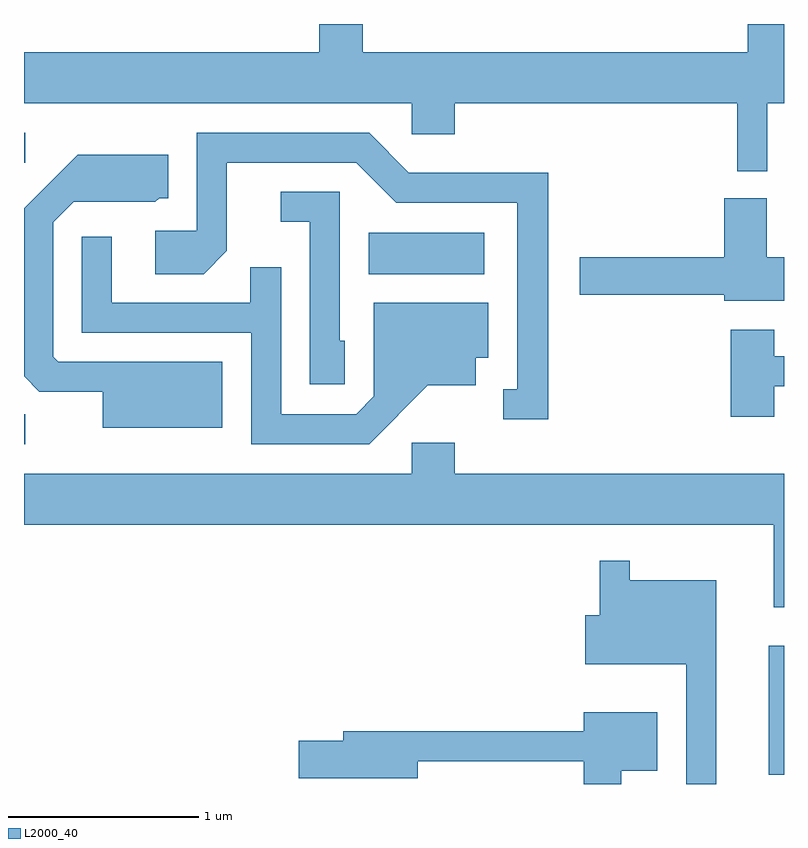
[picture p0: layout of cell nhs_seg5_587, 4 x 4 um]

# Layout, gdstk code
import gdstk
lib = gdstk.Library(unit=1e-6, precision=1e-09)
def R(c, l, rs):  # rectangles x0, y0, x1, y1
    for r in rs: c.add(gdstk.rectangle(r[:2], r[2:], *l))
def P(c, l, *ps):  # polygons
    for p in ps: c.add(gdstk.Polygon(p, *l))
L2000_40 = (2000, 40)

nhs_seg5_587 = lib.new_cell('nhs_seg5_587')
R(nhs_seg5_587, L2000_40, [(205.531,1482.121,205.611,1482.799), (201.611,1483.861,201.618,1484.019), (203.426,1484.756,204.034,1484.974), (201.611,1485.341,201.618,1485.499)])
P(nhs_seg5_587, L2000_40, [(205.524,1485.656),(205.611,1485.656),(205.611,1486.072),(205.421,1486.072),(205.421,1485.924),(203.394,1485.924),(203.394,1486.072),(203.166,1486.072),(203.166,1485.924),(201.611,1485.924),(201.611,1485.656),(203.651,1485.656),(203.651,1485.491),(203.879,1485.491),(203.879,1485.656),(205.366,1485.656),(205.366,1485.298),(205.524,1485.298)],
  [(204.369,1485.289),(203.637,1485.289),(203.427,1485.499),(202.521,1485.499),(202.521,1484.984),(202.301,1484.984),(202.301,1484.756),(202.557,1484.756),(202.679,1484.879),(202.679,1485.341),(203.359,1485.341),(203.569,1485.131),(204.206,1485.131),(204.206,1484.149),(204.133,1484.149),(204.133,1483.991),(204.369,1483.991)],
  [(202.654,1484.294),(201.792,1484.294),(201.764,1484.322),(201.764,1485.029),(201.872,1485.136),(202.302,1485.136),(202.322,1485.156),(202.369,1485.156),(202.369,1485.384),(201.894,1485.384),(201.611,1485.102),(201.611,1484.217),(201.692,1484.136),(202.026,1484.136),(202.026,1483.946),(202.654,1483.946)],
  [(203.299,1484.404),(203.274,1484.404),(203.274,1485.189),(202.963,1485.189),(202.963,1485.031),(203.116,1485.031),(203.116,1484.176),(203.299,1484.176)],
  [(205.611,1484.844),(205.519,1484.844),(205.519,1485.154),(205.296,1485.154),(205.296,1484.844),(204.536,1484.844),(204.536,1484.646),(205.296,1484.646),(205.296,1484.616),(205.611,1484.616)],
  [(203.737,1484.171),(203.989,1484.171),(203.989,1484.316),(204.054,1484.316),(204.054,1484.604),(203.451,1484.604),(203.451,1484.112),(203.359,1484.019),(202.964,1484.019),(202.964,1484.793),(202.801,1484.793),(202.801,1484.604),(202.074,1484.604),(202.074,1484.953),(201.916,1484.953),(201.916,1484.446),(202.806,1484.446),(202.806,1483.861),(203.427,1483.861)],
  [(205.559,1484.166),(205.611,1484.166),(205.611,1484.324),(205.559,1484.324),(205.559,1484.464),(205.331,1484.464),(205.331,1484.006),(205.559,1484.006)],
  [(205.611,1483.704),(203.879,1483.704),(203.879,1483.869),(203.651,1483.869),(203.651,1483.704),(201.611,1483.704),(201.611,1483.436),(205.556,1483.436),(205.556,1483.003),(205.611,1483.003)],
  [(205.254,1483.144),(204.799,1483.144),(204.799,1483.248),(204.641,1483.248),(204.641,1482.959),(204.566,1482.959),(204.566,1482.701),(205.096,1482.701),(205.096,1482.072),(205.254,1482.072)],
  [(204.754,1482.141),(204.944,1482.141),(204.944,1482.449),(204.556,1482.449),(204.556,1482.349),(203.291,1482.349),(203.291,1482.299),(203.056,1482.299),(203.056,1482.101),(203.684,1482.101),(203.684,1482.191),(204.556,1482.191),(204.556,1482.072),(204.754,1482.072)])

lib.write_gds('nhs_seg5_587.gds')
